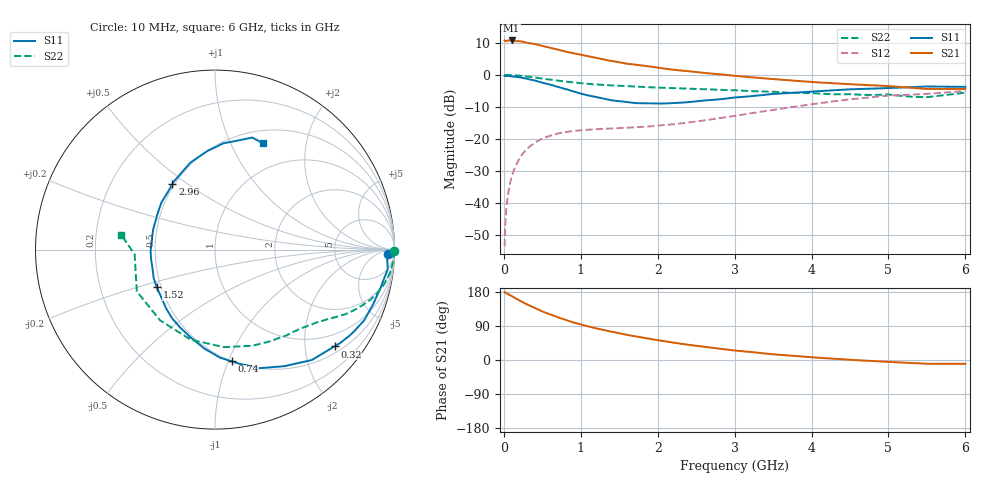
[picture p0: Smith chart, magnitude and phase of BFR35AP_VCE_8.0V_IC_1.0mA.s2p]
! Infineon Technologies  Discrete & RF Semiconductors
! BFR35AP
! VCE =  8.0 V,  IC =  1.0 mA
! Common Emitter S-Parameters:  Nov 2015
# GHz  S  MA  R  50
!  f  S11  S21  S12  S22
! GHz  MAG  ANG  MAG  ANG  MAG  ANG  MAG  ANG
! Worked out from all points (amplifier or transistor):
!   210 points, 10 MHz to 6 GHz, reference 50 ohm
!   highest |S21| = 10.8 dB at 100 MHz (marker M1)
!   |S21| within 3 dB of that: start of sweep to 723.1 MHz
!   unconditionally stable (mu >= 1): 1.461 GHz to 3.491 GHz; 5.335 GHz to 5.901 GHz
!   at 185 MHz: K = 0.15, MSG = 18.7 dB, |S12| = -26.9 dB
!   at 1.52 GHz: K = 1.03, MAG = 9.2 dB, |S12| = -16.6 dB
!   at 6 GHz: K = 0.99, MSG = 0.3 dB, |S12| = -5.0 dB
!   S11 on the Smith chart (normalised r, x): 10 MHz: 40, -25; 320 MHz: 0.66, -2.68; 740 MHz: 0.50, -1.03; 1.52 GHz: 0.47, -0.23; 2.96 GHz: 0.49, +0.44; 6 GHz: 0.65, +1.34
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0.01  0.9649 -1.3  3.45 179.1  0.0021 92.0  0.9999 -0.4
0.02  0.9593 -2.5  3.371 177.6  0.0049 84.5  0.9973 -1.0
0.04  0.9651 -5.1  3.413 175.5  0.0099 86.4  0.9964 -1.9
0.065  0.9609 -8.3  3.436 172.8  0.0162 84.5  0.9944 -3.2
0.1  0.9468 -12.9  3.45 169.0  0.025 81.9  0.991 -5.0
0.2  0.92 -25.3  3.366 157.4  0.0484 74.3  0.9726 -9.8
0.32  0.8571 -39.0  3.144 145.0  0.073 66.0  0.9365 -14.8
0.4  0.8186 -48.7  3.044 137.5  0.0867 61.3  0.9114 -17.8
0.5  0.7561 -59.2  2.847 127.8  0.1008 55.9  0.8733 -21.1
0.74  0.6293 -81.6  2.412 110.2  0.1235 46.3  0.8033 -26.8
0.9  0.5534 -96.3  2.186 99.3  0.133 42.2  0.7623 -29.8
1.02  0.5018 -106.8  2.044 92.7  0.1365 40.1  0.737 -31.7
1.2  0.4514 -121.9  1.844 83.4  0.1413 37.9  0.7076 -34.5
1.52  0.3856 -147.3  1.56 69.9  0.1476 37.2  0.6719 -39.0
2.02  0.3563 172.8  1.286 51.7  0.1614 41.4  0.631 -46.8
2.4  0.3752 149.5  1.142 40.0  0.18 45.5  0.6071 -54.2
2.96  0.4362 123.0  0.978 26.0  0.2243 48.6  0.5761 -67.7
3.1  0.4516 118.1  0.943 23.2  0.2387 48.5  0.5655 -71.8
4.1  0.5581 92.6  0.761 5.8  0.3603 42.4  0.5096 -109.4
5.1  0.6287 76.6  0.654 -6.0  0.4794 26.9  0.4781 -156.4
5.5  0.658 71.6  0.602 -9.9  0.504 19.2  0.4485 -176.6
6  0.6498 65.5  0.603 -10.1  0.5598 14.1  0.5279 171.2
